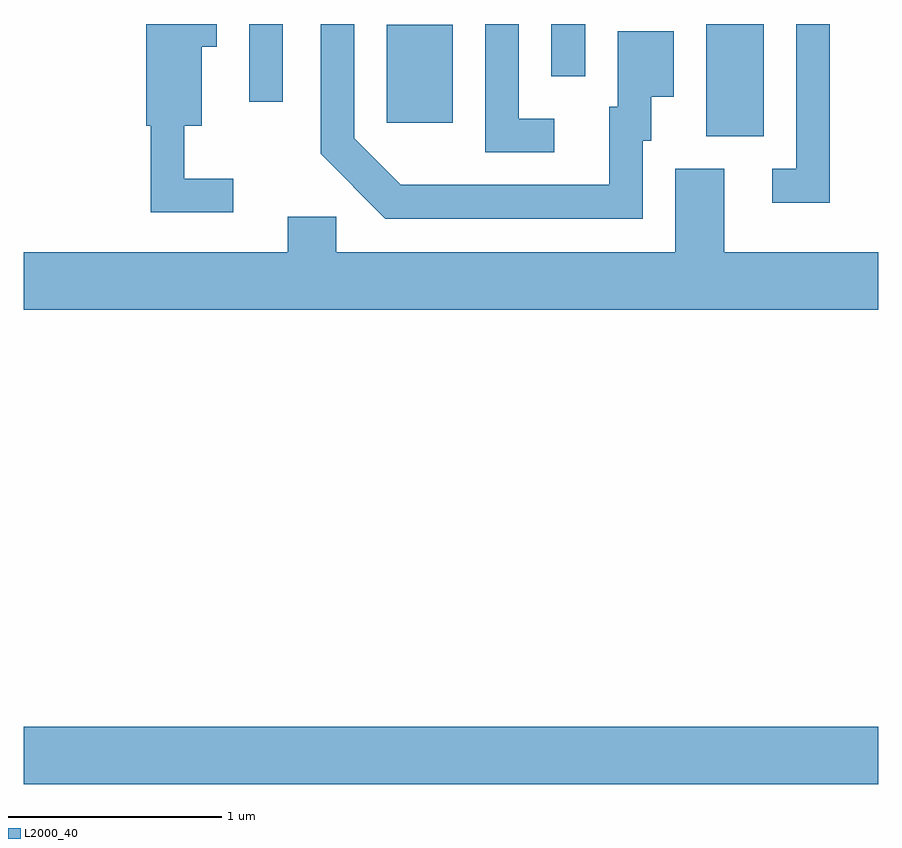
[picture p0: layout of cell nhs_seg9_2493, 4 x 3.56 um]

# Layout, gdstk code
import gdstk
lib = gdstk.Library(unit=1e-6, precision=1e-09)
def R(c, l, rs):  # rectangles x0, y0, x1, y1
    for r in rs: c.add(gdstk.rectangle(r[:2], r[2:], *l))
def P(c, l, *ps):  # polygons
    for p in ps: c.add(gdstk.Polygon(p, *l))
L2000_40 = (2000, 40)

nhs_seg9_2493 = lib.new_cell('nhs_seg9_2493')
R(nhs_seg9_2493, L2000_40, [(257.611,2042.876,261.611,2043.144), (260.806,2045.906,261.074,2046.432), (259.311,2045.971,259.619,2046.429), (258.666,2046.068,258.824,2046.432), (260.081,2046.188,260.239,2046.432)])
P(nhs_seg9_2493, L2000_40, [(260.509,2045.886),(260.549,2045.886),(260.549,2046.091),(260.654,2046.091),(260.654,2046.399),(260.391,2046.399),(260.391,2046.044),(260.351,2046.044),(260.351,2045.679),(259.377,2045.679),(259.159,2045.897),(259.159,2046.432),(259.001,2046.432),(259.001,2045.824),(259.304,2045.521),(260.509,2045.521)],
  [(261.384,2046.432),(261.226,2046.432),(261.226,2045.754),(261.113,2045.754),(261.113,2045.596),(261.384,2045.596)],
  [(258.593,2045.709),(258.364,2045.709),(258.364,2045.956),(258.444,2045.956),(258.444,2046.326),(258.514,2046.326),(258.514,2046.432),(258.186,2046.432),(258.186,2045.956),(258.206,2045.956),(258.206,2045.551),(258.593,2045.551)],
  [(260.093,2045.989),(259.929,2045.989),(259.929,2046.432),(259.771,2046.432),(259.771,2045.831),(260.093,2045.831)],
  [(261.611,2045.364),(260.889,2045.364),(260.889,2045.754),(260.661,2045.754),(260.661,2045.364),(259.074,2045.364),(259.074,2045.529),(258.846,2045.529),(258.846,2045.364),(257.611,2045.364),(257.611,2045.096),(261.611,2045.096)])

lib.write_gds('nhs_seg9_2493.gds')
